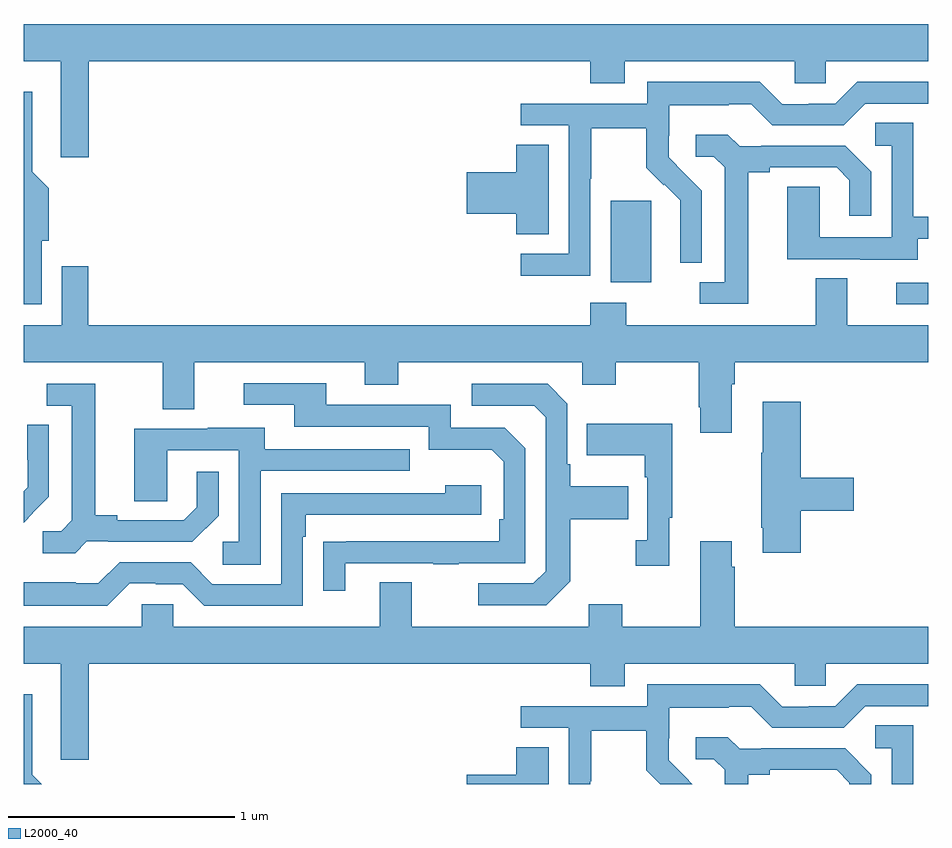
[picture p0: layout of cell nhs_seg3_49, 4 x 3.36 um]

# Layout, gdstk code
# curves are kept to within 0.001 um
import gdstk
lib = gdstk.Library(unit=1e-6, precision=1e-09)
def R(c, l, rs):  # rectangles x0, y0, x1, y1
    for r in rs: c.add(gdstk.rectangle(r[:2], r[2:], *l))
def P(c, l, *ps):  # polygons
    for p in ps: c.add(gdstk.Polygon(p, *l))
L2000_40 = (2000, 40)

nhs_seg3_49 = lib.new_cell('nhs_seg3_49')
R(nhs_seg3_49, L2000_40, [(116.859,686.52,117,686.616), (115.595,686.618,115.774,686.979)])
P(nhs_seg3_49, L2000_40, [(113.288,687.596),(115.505,687.596),(115.505,687.497),(115.657,687.497),(115.657,687.596),(116.409,687.596),(116.409,687.498),(116.547,687.498),(116.547,687.596),(117,687.596),(117,687.76),(113,687.76),(113,687.596),(113.165,687.596),(113.165,687.171),(113.288,687.171)],
  [(115.506,687.076),(115.509,687.076),(115.509,687.3),(115.753,687.3),(115.753,687.125),(115.83,687.048),(115.833,687.051),(115.904,686.981),(115.904,686.858),(115.902,686.858),(115.902,686.704),(115.998,686.704),(115.998,687.022),(115.852,687.17),(115.852,687.267),(115.854,687.267),(115.854,687.401),(116.117,687.401),(116.117,687.405),(116.217,687.405),(116.31,687.312),(116.625,687.312),(116.721,687.408),(117,687.408),(117,687.504),(116.685,687.504),(116.589,687.408),(116.471,687.408),(116.471,687.405),(116.355,687.405),(116.255,687.505),(115.758,687.505),(115.758,687.408),(115.197,687.408),(115.197,687.312),(115.41,687.312),(115.41,686.745),(115.197,686.745),(115.197,686.647),(115.506,686.647)],
  [(113.08,686.802),(113.111,686.802),(113.111,687.034),(113.039,687.106),(113.039,687.205),(113.038,687.205),(113.038,687.46),(113,687.46),(113,686.522),(113.08,686.522)],
  [(116.953,686.811),(117,686.811),(117,686.907),(116.934,686.907),(116.934,687.323),(116.766,687.323),(116.766,687.222),(116.838,687.222),(116.838,686.817),(116.52,686.817),(116.52,687.041),(116.375,687.041),(116.375,686.721),(116.699,686.721),(116.699,686.717),(116.953,686.717)],
  [(116.203,687.104),(116.299,687.104),(116.299,687.126),(116.594,687.126),(116.651,687.069),(116.651,686.913),(116.748,686.913),(116.748,687.106),(116.632,687.222),(116.26,687.222),(116.26,687.219),(116.166,687.219),(116.114,687.271),(115.971,687.271),(115.971,687.174),(116.052,687.174),(116.099,687.127),(116.099,686.619),(115.989,686.619),(115.989,686.523),(116.203,686.523)],
  [(115.321,687.227),(115.178,687.227),(115.178,687.104),(114.96,687.104),(114.96,686.921),(115.178,686.921),(115.178,686.83),(115.321,686.83)],
  [(116.131,686.168),(116.144,686.168),(116.144,686.264),(117,686.264),(117,686.428),(116.641,686.428),(116.641,686.636),(116.501,686.636),(116.501,686.428),(115.665,686.428),(115.665,686.527),(115.505,686.527),(115.505,686.428),(113.285,686.428),(113.285,686.689),(113.169,686.689),(113.169,686.428),(113,686.428),(113,686.264),(113.615,686.264),(113.615,686.056),(113.755,686.056),(113.755,686.264),(114.509,686.264),(114.509,686.165),(114.657,686.165),(114.657,686.264),(115.47,686.264),(115.47,686.165),(115.617,686.165),(115.617,686.264),(115.984,686.264),(115.984,686.065),(115.991,686.065),(115.991,685.953),(116.131,685.953)],
  [(114.421,685.377),(114.811,685.377),(114.811,685.372),(114.923,685.372),(114.923,685.377),(115.218,685.377),(115.218,685.884),(115.128,685.974),(114.888,685.974),(114.888,686.076),(114.337,686.076),(114.337,686.172),(113.973,686.172),(113.973,686.076),(114.197,686.076),(114.197,685.98),(114.792,685.98),(114.792,685.877),(115.069,685.877),(115.122,685.824),(115.122,685.57),(115.102,685.57),(115.102,685.473),(114.325,685.472),(114.325,685.254),(114.421,685.254)],
  [(115.417,685.297),(115.417,685.57),(115.673,685.57),(115.673,685.717),(115.417,685.717),(115.417,685.813),(115.404,685.813),(115.404,686.082),(115.317,686.169),(114.981,686.169),(114.981,686.073),(115.257,686.073),(115.308,686.022),(115.308,685.341),(115.254,685.287),(115.011,685.287),(115.011,685.191),(115.311,685.191)],
  [(113.28,685.473),(113.374,685.473),(113.374,685.47),(113.746,685.47),(113.862,685.586),(113.862,685.78),(113.765,685.78),(113.765,685.623),(113.708,685.566),(113.413,685.566),(113.413,685.589),(113.317,685.589),(113.317,686.169),(113.103,686.169),(113.103,686.073),(113.213,686.073),(113.213,685.565),(113.166,685.518),(113.085,685.518),(113.085,685.421),(113.228,685.421)],
  [(116.435,685.607),(116.671,685.607),(116.671,685.754),(116.435,685.754),(116.435,686.089),(116.267,686.089),(116.267,685.865),(116.26,685.865),(116.26,685.534),(116.267,685.534),(116.267,685.422),(116.435,685.422)],
  [(115.855,685.577),(115.867,685.577),(115.867,685.993),(115.489,685.993),(115.489,685.853),(115.746,685.853),(115.746,685.757),(115.758,685.757),(115.758,685.478),(115.707,685.478),(115.707,685.365),(115.855,685.365)],
  [(113.04,685.596),(113.039,685.597),(113.112,685.67),(113.112,685.988),(113.016,685.988),(113.016,685.834),(113.018,685.834),(113.018,685.712),(113,685.694),(113,685.556)],
  [(114.048,685.785),(114.707,685.785),(114.707,685.881),(114.067,685.881),(114.067,685.975),(113.813,685.975),(113.813,685.971),(113.489,685.971),(113.489,685.651),(113.634,685.651),(113.634,685.875),(113.952,685.875),(113.952,685.47),(113.88,685.47),(113.88,685.369),(114.048,685.369)],
  [(113.469,685.287),(113.585,685.287),(113.585,685.284),(113.703,685.284),(113.799,685.188),(114.234,685.188),(114.234,685.493),(114.247,685.493),(114.247,685.59),(115.024,685.59),(115.024,685.72),(114.863,685.72),(114.863,685.686),(114.138,685.686),(114.138,685.284),(113.835,685.284),(113.739,685.38),(113.424,685.38),(113.331,685.287),(113.231,685.287),(113.231,685.291),(113,685.291),(113,685.187),(113.369,685.187)],
  [(113.288,684.932),(115.505,684.932),(115.505,684.833),(115.657,684.833),(115.657,684.932),(116.409,684.932),(116.409,684.834),(116.547,684.834),(116.547,684.932),(117,684.932),(117,685.096),(116.144,685.096),(116.144,685.361),(116.131,685.361),(116.131,685.474),(115.991,685.474),(115.991,685.096),(115.647,685.096),(115.647,685.195),(115.499,685.195),(115.499,685.096),(114.715,685.096),(114.715,685.291),(114.575,685.291),(114.575,685.096),(113.661,685.096),(113.661,685.194),(113.523,685.194),(113.523,685.096),(113,685.096),(113,684.932),(113.165,684.932),(113.165,684.507),(113.288,684.507)],
  [(115.506,684.412),(115.509,684.412),(115.509,684.636),(115.753,684.636),(115.753,684.461),(115.814,684.4),(115.956,684.4),(115.852,684.506),(115.852,684.603),(115.854,684.603),(115.854,684.737),(116.117,684.737),(116.117,684.741),(116.217,684.741),(116.31,684.648),(116.625,684.648),(116.721,684.744),(117,684.744),(117,684.84),(116.685,684.84),(116.589,684.744),(116.471,684.744),(116.471,684.741),(116.355,684.741),(116.255,684.841),(115.758,684.841),(115.758,684.744),(115.197,684.744),(115.197,684.648),(115.41,684.648),(115.41,684.4),(115.506,684.4)],
  [(113.039,684.442),(113.039,684.541),(113.038,684.541),(113.038,684.796),(113,684.796),(113,684.4),(113.081,684.4)],
  [(116.934,684.659),(116.766,684.659),(116.766,684.558),(116.838,684.558),(116.838,684.4),(116.934,684.4)],
  [(116.203,684.44),(116.299,684.44),(116.299,684.462),(116.594,684.462),(116.651,684.405),(116.651,684.4),(116.748,684.4),(116.748,684.442),(116.632,684.558),(116.26,684.558),(116.26,684.555),(116.166,684.555),(116.114,684.607),(115.971,684.607),(115.971,684.51),(116.052,684.51),(116.099,684.463),(116.099,684.4),(116.203,684.4)],
  [(115.321,684.563),(115.178,684.563),(115.178,684.44),(114.96,684.44),(114.96,684.4),(115.321,684.4)])

lib.write_gds('nhs_seg3_49.gds')
